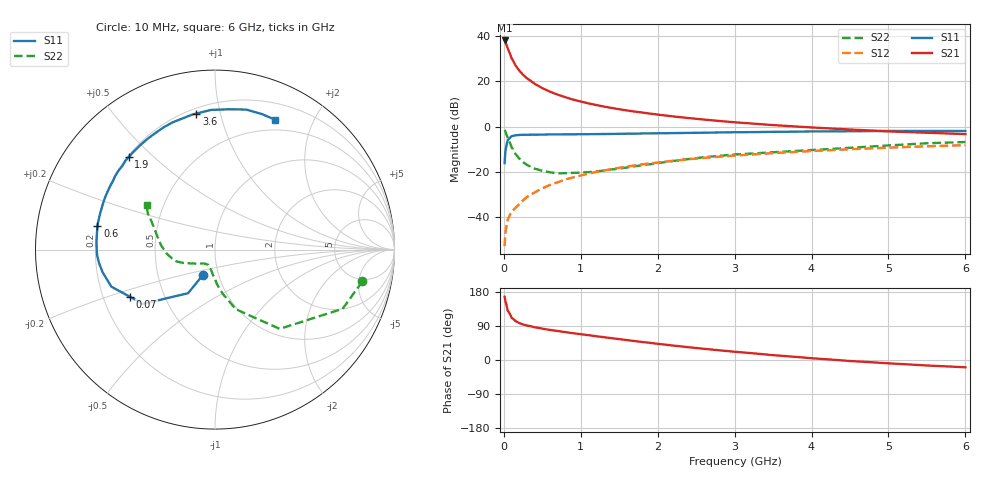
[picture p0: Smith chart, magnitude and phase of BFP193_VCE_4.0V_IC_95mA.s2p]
! (c) 2017  Infineon Technologies AG, Munich
! Infineon Technologies  Discrete & RF Semiconductors
! BFP193
! VCE =  4.0 V,  IC =  95 mA
! Common Emitter S-Parameters:  Jan 2017
# GHz  S  MA  R  50
!  f  S11  S21  S12  S22
! GHz  MAG  ANG  MAG  ANG  MAG  ANG  MAG  ANG
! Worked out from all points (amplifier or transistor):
!   77 points, 10 MHz to 6 GHz, reference 50 ohm
!   highest |S21| = 37.9 dB at 10 MHz (marker M1)
!   |S21| within 3 dB of that: start of sweep to 45.04 MHz
!   unconditionally stable (mu >= 1): 311.8 MHz to 2.59 GHz
!   at 130 MHz: K = 0.79, MSG = 32.5 dB, |S12| = -36.6 dB
!   at 2.2 GHz: K = 1.02, MAG = 8.9 dB, |S12| = -15.1 dB
!   at 6 GHz: K = 0.95, MSG = 2.4 dB, |S12| = -8.2 dB
!   S11 on the Smith chart (normalised r, x): 10 MHz: 0.84, -0.24; 70 MHz: 0.32, -0.24; 600 MHz: 0.20, +0.09; 1.9 GHz: 0.20, +0.42; 3.6 GHz: 0.23, +0.85; 6 GHz: 0.38, +1.50
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0.01  0.1552 -115.4  78.95 166.9  0.0023 83.0  0.8401 -12.2
0.02  0.2856 -121.7  74.47 155.2  0.0045 81.4  0.7837 -24.9
0.05  0.5026 -143.0  53.13 130.0  0.0088 59.6  0.5698 -50.8
0.07  0.5407 -150.8  44.3 124.7  0.0104 60.1  0.4767 -56.6
0.1  0.6132 -160.3  32.25 111.4  0.0129 60.6  0.3521 -70.7
0.15  0.6385 -168.5  22.46 102.8  0.016 63.1  0.2506 -80.0
0.2  0.6504 -173.4  17.12 97.6  0.0194 66.7  0.1969 -86.2
0.25  0.657 -176.9  13.81 93.7  0.0235 67.8  0.1645 -90.1
0.3  0.659 -179.6  11.56 91.0  0.0279 70.1  0.1425 -94.4
0.4  0.6618 175.8  8.744 86.4  0.0351 71.4  0.118 -100.1
0.5  0.6639 172.0  7.008 82.7  0.0432 72.0  0.1054 -105.6
0.6  0.6684 168.7  5.868 79.4  0.0516 71.9  0.0979 -111.1
0.8  0.6709 162.6  4.419 73.5  0.068 71.4  0.0936 -117.8
1.1  0.6782 154.2  3.24 65.5  0.0917 68.8  0.0985 -128.0
1.5  0.6911 143.5  2.402 55.1  0.1231 64.1  0.1182 -139.7
1.9  0.7049 132.9  1.926 45.3  0.1537 59.0  0.1474 -148.6
2.1  0.7117 127.8  1.749 40.5  0.1679 56.1  0.1647 -152.5
3.1  0.7491 106.6  1.205 20.1  0.2346 43.0  0.2467 -169.0
3.6  0.7652 97.8  1.05 11.3  0.2646 37.1  0.2764 -177.5
4.1  0.7791 90.0  0.934 3.3  0.2933 30.9  0.3091 172.7
5.1  0.7984 76.1  0.77 -9.9  0.3467 18.9  0.3911 155.5
6  0.7971 65.2  0.68 -19.3  0.3882 8.6  0.4549 146.8
